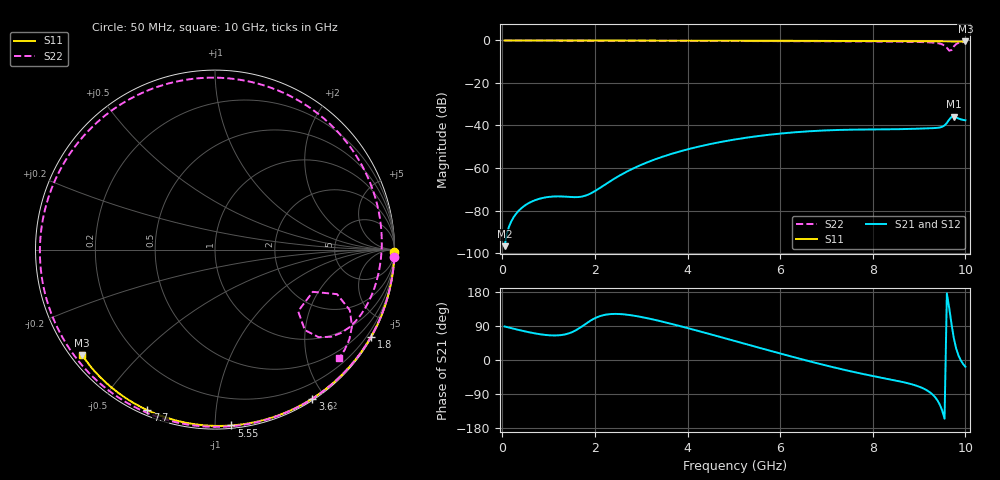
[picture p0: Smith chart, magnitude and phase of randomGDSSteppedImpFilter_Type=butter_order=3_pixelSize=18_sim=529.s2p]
! freq	dB(S11)	phase(S11)	dB(S12)	phase(S12)
!  dB(S21)	phase(S21)	dB(S22)	phase(S22)
!S-par simulation data
#  GHz  S  DB  R 50
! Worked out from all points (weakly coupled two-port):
!   200 points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, 50 MHz to 10 GHz, reference 50 ohm
!   highest |S21| = -35.84 dB at 9.75 GHz (marker M1); lowest = -96.8 dB at 50 MHz (marker M2)
!   lowest |S11| = -0.5 dB at 10 GHz (marker M3), VSWR 35.93, Z = 1.56 - j17.4 ohm
!   |S11| at or under -10 dB: nowhere
!   |S22| runs from -4.8 to 0.0 dB; largest |S21 - S12| = 0
!   S11 on the Smith chart (normalised r, x): 50 MHz: open; 1.8 GHz: 0.03, -3.85; 3.6 GHz: 0.02, -1.85; 5.55 GHz: 0.02, -1.10; 7.7 GHz: 0.02, -0.66; 10 GHz: 0.03, -0.35
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0.05  -0.00 -0.8  -96.78 88.4  -96.78 88.4  -0.00 -2.3
0.35  -0.01 -5.7  -80.20 79.4  -80.20 79.4  -0.02 -16.0
0.65  -0.01 -10.6  -75.66 71.5  -75.66 71.5  -0.04 -29.6
1  -0.02 -16.3  -73.60 65.3  -73.60 65.3  -0.06 -45.1
1.75  -0.04 -28.3  -73.29 91.1  -73.29 91.1  -0.09 -76.9
1.8  -0.04 -29.1  -72.97 95.3  -72.97 95.3  -0.09 -78.9
2.55  -0.05 -40.9  -63.35 121.2  -63.35 121.2  -0.13 -108.4
3.4  -0.07 -53.8  -55.15 102.9  -55.15 102.9  -0.16 -139.7
3.6  -0.08 -56.8  -53.72 96.9  -53.72 96.9  -0.17 -146.9
4.35  -0.10 -67.8  -49.40 72.8  -49.40 72.8  -0.20 -173.5
5.05  -0.12 -77.7  -46.48 49.2  -46.48 49.2  -0.25 161.4
5.55  -0.14 -84.7  -44.91 32.3  -44.91 32.3  -0.28 142.8
6.7  -0.19 -100.0  -42.63 -5.5  -42.63 -5.5  -0.36 96.9
7.7  -0.26 -112.9  -41.92 -34.6  -41.92 -34.6  -0.44 52.9
8.35  -0.31 -121.1  -41.80 -50.6  -41.80 -50.6  -0.53 22.8
8.95  -0.36 -128.6  -41.52 -68.1  -41.52 -68.1  -0.70 -5.9
9.45  -0.41 -134.8  -40.93 -118.4  -40.93 -118.4  -1.49 -33.5
9.55  -0.42 -136.0  -39.97 -154.9  -39.97 -154.9  -2.43 -40.2
9.65  -0.44 -137.3  -37.22 137.8  -37.22 137.8  -4.78 -36.5
9.75  -0.46 -138.5  -35.84 57.8  -35.84 57.8  -2.81 -20.0
9.85  -0.47 -139.7  -36.73 12.2  -36.73 12.2  -1.16 -29.2
10  -0.48 -141.6  -37.56 -17.9  -37.56 -17.9  -0.73 -41.1
